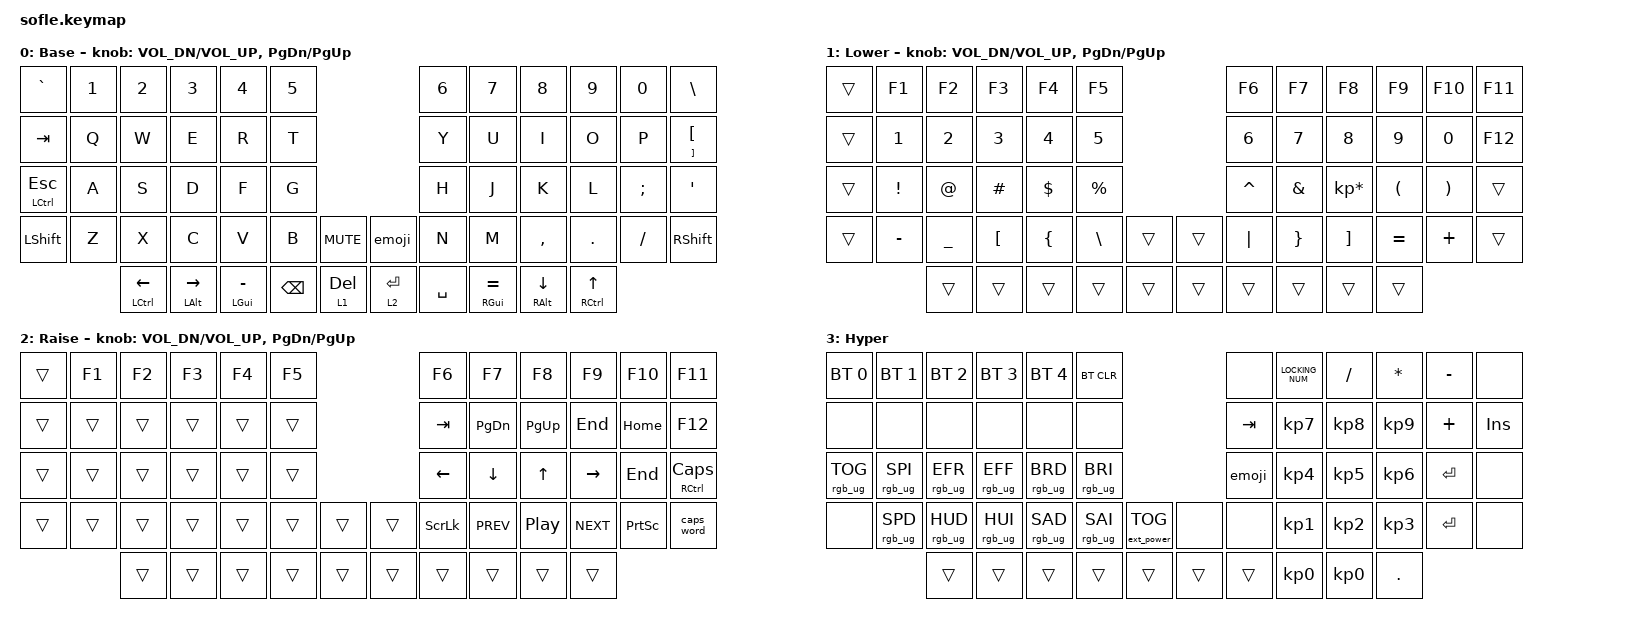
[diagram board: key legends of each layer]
/*
 * Copyright (c) 2020 The ZMK Contributors
 *
 * SPDX-License-Identifier: MIT
 */

#include <behaviors.dtsi>
#include <dt-bindings/zmk/bt.h>
#include <dt-bindings/zmk/ext_power.h>
#include <dt-bindings/zmk/keys.h>
#include <dt-bindings/zmk/rgb.h>

&sk {
    release-after-ms = <666>;

    /delete-property/ ignore-modifiers;
};

&caps_word { continue-list = <UNDERSCORE BACKSPACE DELETE LGUI RGUI MINUS>; };

/ {
    macros {
        rgblayer: rgb_layer {
            compatible = "zmk,behavior-macro-two-param";
            #binding-cells = <2>;
            bindings =
                <&macro_param_2to2 &rgb_ug RGB_COLOR_HSB_CMD MACRO_PLACEHOLDER &macro_param_1to1>,
                <&macro_press>,
                <&mo MACRO_PLACEHOLDER>,
                <&macro_pause_for_release>,
                <&macro_release>,
                <&macro_param_1to1 &mo MACRO_PLACEHOLDER>,
                <&macro_tap>,
                <&rgb_ug RGB_TOG>;

            label = "MOMENTARY_LAYER_WITH_RGB_SELECTION";
        };

        shift: with_lshift {
            compatible = "zmk,behavior-macro-one-param";
            #binding-cells = <1>;
            bindings =
                <&macro_press>,
                <&kp LEFT_SHIFT>,
                <&macro_tap>,
                <&macro_param_1to1 &kp MACRO_PLACEHOLDER>,
                <&macro_release>,
                <&kp LEFT_SHIFT>;

            label = "KEY_PRESS_WITH_LEFT_SHIFT_MODIFIER";
        };

        as: autoshift {
            compatible = "zmk,behavior-macro-one-param";
            #binding-cells = <1>;
            bindings =
                <&macro_press>,
                <&macro_param_1to1 &macro_param_1to2 &as_ht MACRO_PLACEHOLDER MACRO_PLACEHOLDER>,
                <&macro_pause_for_release>,
                <&macro_release>,
                <&macro_param_1to1 &macro_param_1to2 &as_ht MACRO_PLACEHOLDER MACRO_PLACEHOLDER>;

            label = "AUTOSHIFT_KEYPRESS";
        };

        emoji: emoji {
            compatible = "zmk,behavior-macro";
            #binding-cells = <0>;
            bindings = <&kp LC(LG(SPACE)) &kp LG(PERIOD)>;
            label = "EMOJI";
        };
    };

    behaviors {
        as_ht: autoshift_hold_tap {
            compatible = "zmk,behavior-hold-tap";
            label = "AUTOSHIFT_HOLD_TAP";
            bindings = <&shift>, <&kp>;

            #binding-cells = <2>;
            tapping-term-ms = <190>;
        };

        return_raise: return_raise {
            compatible = "zmk,behavior-tap-dance";
            label = "RETURN_RAISE";
            #binding-cells = <0>;
            bindings = <&kp RET>, <&rgblayer RGB_COLOR_HSB_VAL(221,80,48) 2>;

            tapping-term-ms = <190>;
        };

        delete_lower: delete_lower {
            compatible = "zmk,behavior-tap-dance";
            label = "DELETE_LOWER";
            #binding-cells = <0>;
            bindings = <&kp DELETE>, <&rgblayer RGB_COLOR_HSB_VAL(172,80,48) 1>;

            tapping-term-ms = <190>;
        };

        layer_and_key: layer_and_key {
            compatible = "zmk,behavior-hold-tap";
            label = "LAYER_AND_KEY";
            bindings = <&mo>, <&kp>;

            #binding-cells = <2>;
            tapping-term-ms = <190>;
        };
    };

    keymap {
        compatible = "zmk,keymap";

        default_layer {
            // ------------------------------------------------------------------------------------------------------------
            // |  `    |  1  |  2  |  3   |  4   |  5   |                   |  6   |  7    |  8    |  9   |   0   |   \   |
            // |  TAB  |  Q  |  W  |  E   |  R   |  T   |                   |  Y   |  U    |  I    |  O   |   P   | BKSPC |
            // | C/ESC |  A  |  S  |  D   |  F   |  G   |                   |  H   |  J    |  K    |  L   |   ;   |  C/'  |
            // | SHIFT |  Z  |  X  |  C   |  V   |  B   |  MUTE  |  | PLAY  |  N   |  M    |  ,    |  .   |   /   | SHIFT |
            //               | CAPS| ALT  | GUI/-| SPACE|LOWER/[ |  |RAISE/]| ENTER|  GUI/=|  ALT  | CTRL |

            bindings = <
&kp GRAVE      &kp N1  &kp N2                &kp N3                    &kp N4          &kp N5                                                          &kp N6     &kp N7          &kp N8                    &kp N9              &kp N0    &kp BSLH
&kp TAB        &kp Q   &kp W                 &kp E                     &kp R           &kp T                                                           &kp Y      &kp U           &kp I                     &kp O               &kp P     &mt RIGHT_BRACKET LEFT_BRACKET
&mt LCTRL ESC  &kp A   &kp S                 &kp D                     &kp F           &kp G                                                           &kp H      &kp J           &kp K                     &kp L               &kp SEMI  &kp SQT
&kp LSHFT      &kp Z   &kp X                 &kp C                     &kp V           &kp B          &kp K_MUTE                 &emoji                &kp N      &kp M           &kp COMMA                 &kp DOT             &kp FSLH  &kp RSHFT
                       &mt LCTRL LEFT_ARROW  &mt LEFT_ALT RIGHT_ARROW  &mt LGUI MINUS  &kp BACKSPACE  &layer_and_key 1 DELETE    &layer_and_key 2 RET  &kp SPACE  &mt RGUI EQUAL  &mt RIGHT_ALT DOWN_ARROW  &mt RCTRL UP_ARROW
            >;

            sensor-bindings =
                <&inc_dec_kp C_VOL_DN C_VOL_UP>,
                <&inc_dec_kp PAGE_DOWN PAGE_UP>;

            label = "Base";
        };

        lower_layer {
            // ------------------------------------------------------------------------------------------------------------
            // |       |  F1 |  F2 |  F3  |  F4  |  F5  |                   |  F6  |  F7   |  F8   |  F9  |  F10  |  F11  |
            // |       |   1 |   2 |   3  |   4  |   5  |                   |   6  |   7   |   8   |   9  |    0  |  F12  |
            // |       |  !  |  @  |  #   |  $   |  %   |                   |  ^   |  &    |  *    |  (   |   )   |       |
            // |       |  -  |  _  |  [   |  {   |  \   |        |  |       |  |   |  }    |  ]    |  =   |   +   |       |
            //               |     |      |      |      |        |  |       |      |       |       |      |

            bindings = <
&trans  &kp F1     &kp F2     &kp F3    &kp F4    &kp F5                       &kp F6     &kp F7    &kp F8           &kp F9     &kp F10   &kp F11
&trans  &kp N1     &kp N2     &kp N3    &kp N4    &kp N5                       &kp N6     &kp N7    &kp N8           &kp N9     &kp N0    &kp F12
&trans  &kp EXCL   &kp AT     &kp HASH  &kp DLLR  &kp PRCNT                    &kp CARET  &kp AMPS  &kp KP_MULTIPLY  &kp LPAR   &kp RPAR  &trans
&trans  &kp MINUS  &kp UNDER  &kp LBKT  &kp LBRC  &kp BSLH   &trans    &trans  &kp PIPE   &kp RBRC  &kp RBKT         &kp EQUAL  &kp PLUS  &trans
                   &trans     &trans    &trans    &trans     &trans    &trans  &trans     &trans    &trans           &trans
            >;

            sensor-bindings = <&inc_dec_kp C_VOL_DN C_VOL_UP &inc_dec_kp PG_DN PG_UP>;
            label = "Lower";
        };

        raise_layer {
            // ------------------------------------------------------------------------------------------------------------
            // |     |  F1  |  F2  |  F3   |  F4   |  F5  |                |  F6  |  F7  |  F8   |  F9  |  F10  |  F11  |
            // |     | BT1  | BT2  |  BT3  |  BT4  |  BT5 |                | PGUP |  END |   ^   | HOME |  INS  |  F12  |
            // |     | RGBT | RGB- | RGB+  |  BR-  |  BR+ |                | PGDN |   <- |   v   | ->   |  DEL  | C/CAPS|
            // |     |BTCLR | HUD  | HUI   |  SAD  |  SAI |      |  |      | SCRL | PRVS | PLAY  | NEXT |  PSCR |       |
            //              |      |       |       |      |      |  |      |      |      |       |      |

            bindings = <
&trans  &kp F1  &kp F2  &kp F3  &kp F4  &kp F5                    &kp F6    &kp F7         &kp F8        &kp F9      &kp F10    &kp F11
&trans  &trans  &trans  &trans  &trans  &trans                    &kp TAB   &kp PAGE_DOWN  &kp PG_UP     &kp END     &kp HOME   &kp F12
&trans  &trans  &trans  &trans  &trans  &trans                    &kp LEFT  &kp DOWN       &kp UP_ARROW  &kp RIGHT   &kp END    &mt RCTRL CLCK
&trans  &trans  &trans  &trans  &trans  &trans  &trans    &trans  &kp SLCK  &kp C_PREV     &kp C_PP      &kp C_NEXT  &kp PSCRN  &caps_word
                &trans  &trans  &trans  &trans  &trans    &trans  &trans    &trans         &trans        &trans
            >;

            sensor-bindings = <&inc_dec_kp C_VOL_DN C_VOL_UP &inc_dec_kp PG_DN PG_UP>;
            label = "Raise";
        };

        BOTH_LAYER {
            bindings = <
&bt BT_SEL 0     &bt BT_SEL 1     &bt BT_SEL 2     &bt BT_SEL 3     &bt BT_SEL 4     &bt BT_CLR                                    &none    &kp LOCKING_NUM  &kp FSLH   &kp STAR         &kp MINUS  &none
&none            &none            &none            &none            &none            &none                                         &kp TAB  &kp KP_NUMBER_7  &kp KP_N8  &kp KP_N9        &kp PLUS   &kp INSERT
&rgb_ug RGB_TOG  &rgb_ug RGB_SPI  &rgb_ug RGB_EFR  &rgb_ug RGB_EFF  &rgb_ug RGB_BRD  &rgb_ug RGB_BRI                               &emoji   &kp KP_N4        &kp KP_N5  &kp KP_NUMBER_6  &kp RET    &none
&none            &rgb_ug RGB_SPD  &rgb_ug RGB_HUD  &rgb_ug RGB_HUI  &rgb_ug RGB_SAD  &rgb_ug RGB_SAI  &ext_power EP_TOG    &none   &none    &kp KP_N1        &kp KP_N2  &kp KP_N3        &kp RET    &none
                                  &trans           &trans           &trans           &trans           &trans               &trans  &trans   &kp KP_N0        &kp KP_N0  &kp DOT
            >;

            label = "Hyper";
        };
    };

    conditional_layers {
        compatible = "zmk,conditional-layers";

        tri_layer {
            if-layers = <1 2>;
            then-layer = <3>;
        };
    };
};
